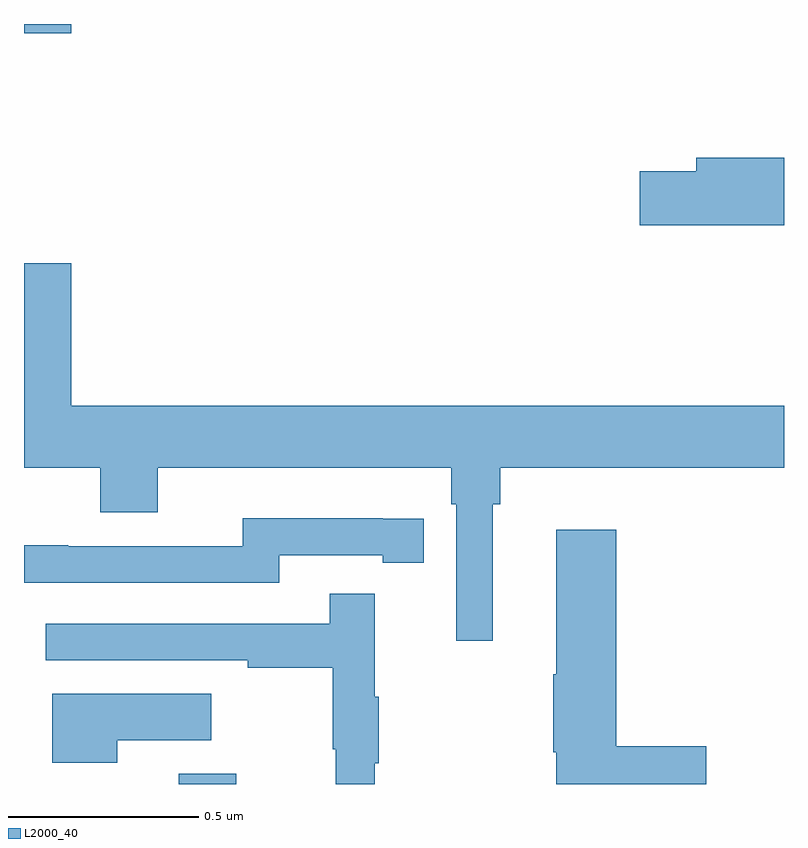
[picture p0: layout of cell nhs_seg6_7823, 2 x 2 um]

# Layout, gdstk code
import gdstk
lib = gdstk.Library(unit=1e-6, precision=1e-09)
def R(c, l, rs):  # rectangles x0, y0, x1, y1
    for r in rs: c.add(gdstk.rectangle(r[:2], r[2:], *l))
def P(c, l, *ps):  # polygons
    for p in ps: c.add(gdstk.Polygon(p, *l))
L2000_40 = (2000, 40)

nhs_seg6_7823 = lib.new_cell('nhs_seg6_7823')
R(nhs_seg6_7823, L2000_40, [(213.407,950.5,213.559,950.527), (213,952.476,213.124,952.5)])
P(nhs_seg6_7823, L2000_40, [(215,952.148),(214.769,952.148),(214.769,952.112),(214.62,952.112),(214.62,951.97),(215,951.97)],
  [(214.234,951.236),(214.253,951.236),(214.253,951.332),(215,951.332),(215,951.496),(213.124,951.496),(213.124,951.871),(213,951.871),(213,951.332),(213.2,951.332),(213.2,951.215),(213.352,951.215),(213.352,951.332),(214.124,951.332),(214.124,951.236),(214.137,951.236),(214.137,950.877),(214.234,950.877)],
  [(213.672,951.102),(213.944,951.102),(213.944,951.082),(214.052,951.082),(214.052,951.198),(213.944,951.198),(213.944,951.199),(213.576,951.199),(213.576,951.126),(213.116,951.126),(213.116,951.128),(213,951.128),(213,951.03),(213.672,951.03)],
  [(214.795,950.6),(214.559,950.6),(214.559,951.169),(214.4,951.169),(214.4,950.789),(214.393,950.789),(214.393,950.583),(214.4,950.583),(214.4,950.5),(214.795,950.5)],
  [(213.923,950.555),(213.934,950.555),(213.934,950.729),(213.923,950.729),(213.923,951.001),(213.805,951.001),(213.805,950.922),(213.057,950.922),(213.057,950.826),(213.589,950.826),(213.589,950.806),(213.813,950.806),(213.813,950.592),(213.82,950.592),(213.82,950.5),(213.923,950.5)],
  [(213.245,950.615),(213.493,950.615),(213.493,950.737),(213.074,950.737),(213.074,950.556),(213.245,950.556)])

lib.write_gds('nhs_seg6_7823.gds')
